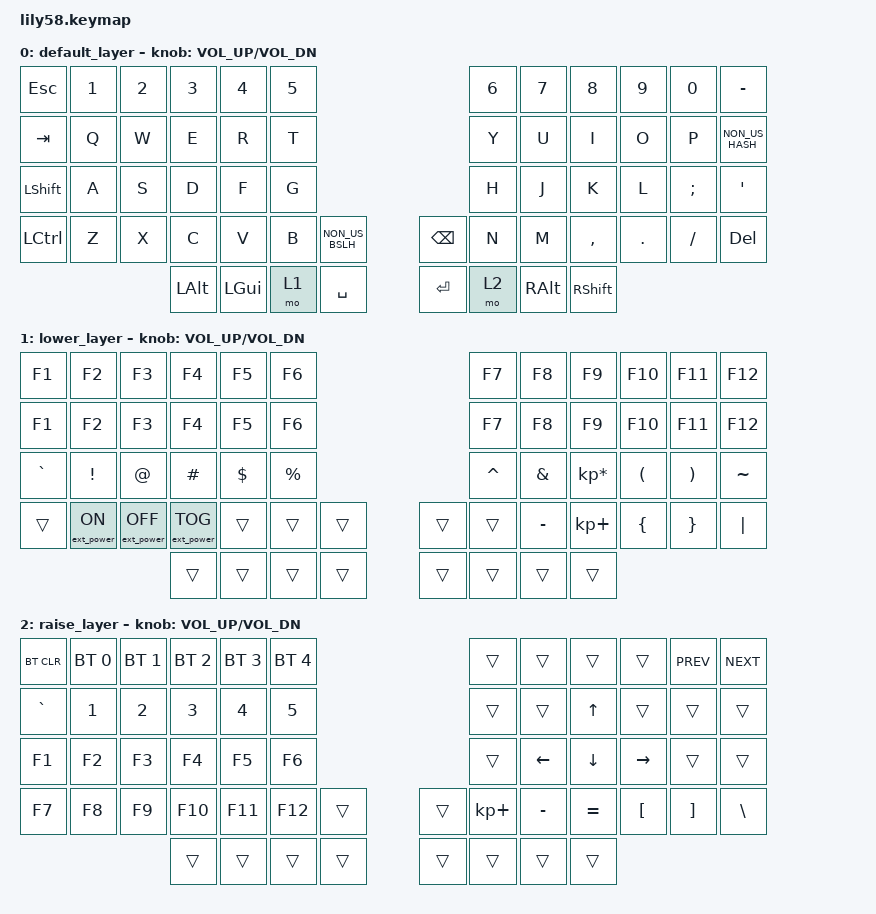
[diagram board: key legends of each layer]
/*
 * Copyright (c) 2020 The ZMK Contributors
 *
 * SPDX-License-Identifier: MIT
 */

#include <behaviors.dtsi>
#include <dt-bindings/zmk/keys.h>
#include <dt-bindings/zmk/bt.h>
#include <dt-bindings/zmk/ext_power.h>

/ {
	keymap {
		compatible = "zmk,keymap";

		default_layer {
// ------------------------------------------------------------------------------------------------------------
// |  ESC  |  1  |  2  |  3   |  4   |  5   |                   |  6   |  7    |  8    |  9   |   0   |   +=  |
// |  TAB  |  Q  |  W  |  E   |  R   |  T   |                   |  Y   |  U    |  I    |  O   |   P   | NUHS  |
// | LSHFT |  A  |  S  |  D   |  F   |  G   |                   |  H   |  J    |  K    |  L   |   ;   |   '   |
// |  CTRL |  Z  |  X  |  C   |  V   |  B   |  NUBS  |  |  BSPC |  N   |  M    |  ,    |  .   |   /   |  DEL  |
//                     | ALT  | GUI  | LOWER|  SPACE |  | ENTER | RAISE| RALT  | SHIFT |
			bindings = <
&kp ESC   &kp N1 &kp N2 &kp N3   &kp N4   &kp N5                     		 &kp N6 &kp N7   &kp N8    &kp N9  &kp N0   &kp MINUS
&kp TAB   &kp Q  &kp W  &kp E    &kp R    &kp T                      		 &kp Y  &kp U    &kp I     &kp O   &kp P    &kp NON_US_HASH
&kp LSHFT &kp A  &kp S  &kp D    &kp F    &kp G                      		 &kp H  &kp J    &kp K     &kp L   &kp SEMI &kp SQT
&kp LCTRL &kp Z  &kp X  &kp C    &kp V    &kp B  &kp NON_US_BSLH   	&kp BSPC &kp N  &kp M    &kp COMMA &kp DOT &kp FSLH &kp DEL
                        &kp LALT &kp LGUI &mo 1  &kp SPACE  		&kp RET  &mo 2  &kp RALT &kp RSHFT  
			>;

			sensor-bindings = <&inc_dec_kp C_VOL_UP C_VOL_DN>;
		};

		lower_layer {
// ------------------------------------------------------------------------------------------------------------
// |  F1   |  F2 |  F3 |  F4  |  F5  |  F6  |                   |  F7  |  F8   |  F9   |  F10 |  F11  |  F12  |
// |  F1   |  F2 |  F3 |  F4  |  F5  |  F6  |                   |  F7  |  F8   |  F9   |  F10 |  F11  |  F12  |
// |   `   |  !  |  @  |  #   |  $   |  %   |                   |  ^   |  &    |  *    |  (   |   )   |   ~   |
// |       |     |     |      |      |      |        |  |       |      |  _    |  +    |  {   |   }   |  "|"  |
//                     |      |      |      |        |  |       |      |       |       |
			bindings = <
&kp F1     &kp F2           &kp F3            &kp F4            &kp F5       &kp F6                       &kp F7    &kp F8    &kp F9          &kp F10   &kp F11   &kp F12
&kp F1     &kp F2           &kp F3            &kp F4            &kp F5       &kp F6                       &kp F7    &kp F8    &kp F9          &kp F10   &kp F11   &kp F12
&kp GRAVE  &kp EXCL         &kp AT            &kp HASH          &kp DOLLAR   &kp PRCNT                    &kp CARET &kp AMPS  &kp KP_MULTIPLY &kp LPAR  &kp RPAR  &kp TILDE
&trans     &ext_power EP_ON &ext_power EP_OFF &ext_power EP_TOG &trans       &trans    &trans   &trans    &trans    &kp MINUS &kp KP_PLUS     &kp LBRC  &kp RBRC  &kp PIPE
                                              &trans            &trans       &trans    &trans   &trans    &trans    &trans    &trans
			>;

			sensor-bindings = <&inc_dec_kp C_VOL_UP C_VOL_DN>;
		};

		raise_layer {
// ------------------------------------------------------------------------------------------------------------
// | BTCLR | BT1 | BT2 |  BT3 |  BT4 |  BT5 |                   |      |       |       |      | PRVS  | NEXT  |
// |   `   |  1  |  2  |  3   |  4   |  5   |                   |      |       |   ^   |      |       |       |
// |   F1  |  F2 |  F3 |  F4  |  F5  |  F6  |                   |      |   <-  |   v   |  ->  |       |       |
// |   F7  |  F8 |  F9 |  F10 |  F11 |  F12 |        |  |       |  +   |   -   |   =   |  [   |   ]   |   \   |
//                     |      |      |      |        |  |       |      |       |       |
			bindings = <
&bt BT_CLR &bt BT_SEL 0  &bt BT_SEL 1 &bt BT_SEL 2   &bt BT_SEL 3 &bt BT_SEL 4               &trans      &trans    &trans    &trans   &kp C_PREV  &kp C_NEXT
&kp GRAVE  &kp N1        &kp N2       &kp N3         &kp N4       &kp N5                     &trans      &trans    &kp UP    &trans   &trans    &trans
&kp F1     &kp F2        &kp F3       &kp F4         &kp F5       &kp F6                     &trans      &kp LEFT  &kp DOWN  &kp RIGHT &trans   &trans
&kp F7     &kp F8        &kp F9       &kp F10        &kp F11      &kp F12                    &trans   &trans    &kp KP_PLUS &kp MINUS &kp EQUAL &kp LBKT &kp RBKT  &kp BSLH
                         &trans  &trans  &trans    &trans                                    &trans    &trans      &trans    &trans
			>;

			sensor-bindings = <&inc_dec_kp C_VOL_UP C_VOL_DN>;
		};
	};
};
